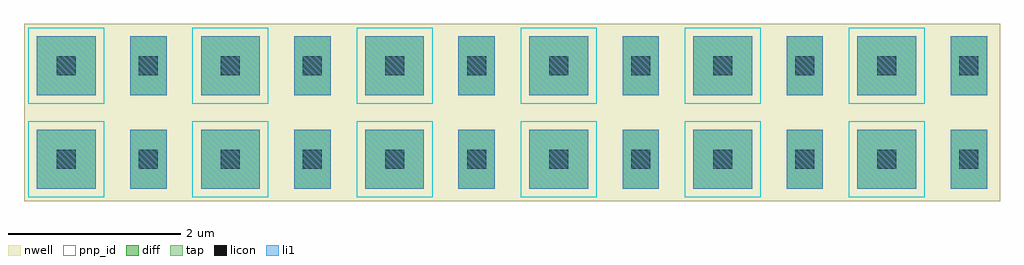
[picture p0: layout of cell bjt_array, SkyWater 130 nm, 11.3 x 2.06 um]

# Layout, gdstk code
import gdstk
lib = gdstk.Library(unit=1e-6, precision=1e-09)
def R(c, l, rs):  # rectangles x0, y0, x1, y1
    for r in rs: c.add(gdstk.rectangle(r[:2], r[2:], *l))
def A(c, l, x, y, w, h, nx, ny, dx, dy):  # array of equal rectangles
    R(c, l, [(x+i*dx, y+j*dy, x+i*dx+w, y+j*dy+h) for i in range(nx) for j in range(ny)])
nwell = (64, 20)
diff = (65, 20)
tap = (65, 44)
licon = (66, 44)
li1 = (67, 20)
pnp_id = (82, 44)

bjt_array = lib.new_cell('bjt_array')
R(bjt_array, nwell, [(-2.05,-0.15,9.25,1.91)])
A(bjt_array, diff, -1.9, 0, 0.68, 0.68, 6, 2, 1.9, 1.08)
A(bjt_array, diff, -0.82, 0, 0.42, 0.68, 6, 2, 1.9, 1.08)
A(bjt_array, tap, -0.82, 0, 0.42, 0.68, 6, 2, 1.9, 1.08)
A(bjt_array, licon, -1.67, 0.23, 0.22, 0.22, 12, 2, 0.95, 1.08)
A(bjt_array, li1, -1.9, 0, 0.68, 0.68, 6, 2, 1.9, 1.08)
A(bjt_array, li1, -0.82, 0, 0.42, 0.68, 6, 2, 1.9, 1.08)
A(bjt_array, pnp_id, -2, -0.1, 0.88, 0.88, 6, 2, 1.9, 1.08)

lib.write_gds('bjt_array.gds')
